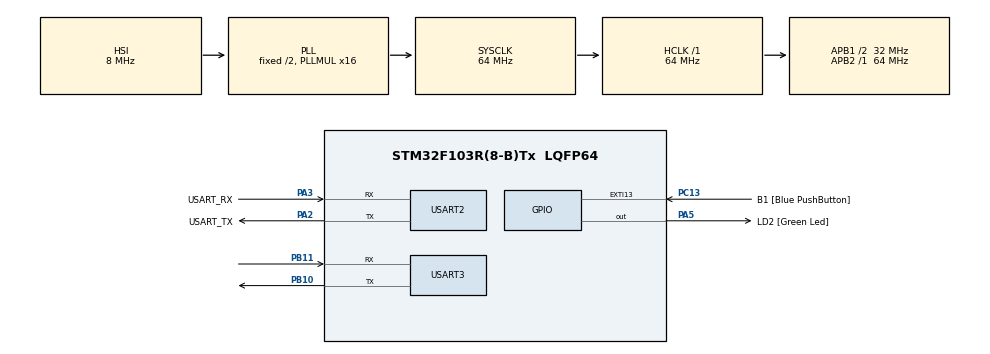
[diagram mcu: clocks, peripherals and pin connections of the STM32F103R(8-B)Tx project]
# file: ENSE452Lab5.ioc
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FREERTOS.Tasks01=blink01,24,128,StartBlink01,Default,NULL,Dynamic,NULL,NULL;blink02,16,128,StartBlink02,Default,NULL,Dynamic,NULL,NULL;StatusTask,8,128,StartStatusTask,Default,NULL,Dynamic,NULL,NULL
Mcu.Family=STM32F1
Mcu.Name=STM32F103R(8-B)Tx
Mcu.Package=LQFP64
NVIC.EXTI15_10_IRQn=true\:5\:0\:false\:false\:true\:true\:true\:true\:true
NVIC.PriorityGroup=NVIC_PRIORITYGROUP_4
NVIC.TIM4_IRQn=true\:15\:0\:false\:false\:true\:false\:false\:true\:true
NVIC.TimeBase=TIM4_IRQn
NVIC.TimeBaseIP=TIM4
NVIC.USART3_IRQn=true\:5\:0\:false\:false\:true\:true\:true\:true\:true
PA13.GPIO_Label=TMS
PA13.Mode=Serial_Wire
PA13.Signal=SYS_JTMS-SWDIO
PA14.GPIO_Label=TCK
PA14.Mode=Serial_Wire
PA14.Signal=SYS_JTCK-SWCLK
PA2.GPIO_Label=USART_TX
PA2.GPIO_Mode=GPIO_MODE_AF_PP
PA2.GPIO_PuPd=GPIO_NOPULL
PA2.GPIO_Speed=GPIO_SPEED_FREQ_LOW
PA2.Mode=Asynchronous
PA2.Signal=USART2_TX
PA3.GPIO_Label=USART_RX
PA3.GPIO_Mode=GPIO_MODE_AF_PP
PA3.GPIO_PuPd=GPIO_NOPULL
PA3.GPIO_Speed=GPIO_SPEED_FREQ_LOW
PA3.Mode=Asynchronous
PA3.Signal=USART2_RX
PA5.GPIO_Label=LD2 [Green Led]
PA5.GPIO_ModeDefaultOutputPP=GPIO_MODE_OUTPUT_PP
PA5.GPIO_PuPd=GPIO_NOPULL
PA5.GPIO_Speed=GPIO_SPEED_FREQ_LOW
PA5.Signal=GPIO_Output
PB10.Mode=Asynchronous
PB10.Signal=USART3_TX
PB11.Mode=Asynchronous
PB11.Signal=USART3_RX
PB3.GPIO_Label=SWO
PB3.Signal=SYS_JTDO-TRACESWO
PC13-TAMPER-RTC.GPIO_Label=B1 [Blue PushButton]
PC13-TAMPER-RTC.GPIO_PuPd=GPIO_NOPULL
PC13-TAMPER-RTC.Signal=GPXTI13
PC14-OSC32_IN.Mode=LSE-External-Oscillator
PC14-OSC32_IN.Signal=RCC_OSC32_IN
PC15-OSC32_OUT.Mode=LSE-External-Oscillator
PC15-OSC32_OUT.Signal=RCC_OSC32_OUT
PD0-OSC_IN.Mode=HSE-External-Clock-Source
PD0-OSC_IN.Signal=RCC_OSC_IN
PD1-OSC_OUT.Mode=HSE-External-Clock-Source
PD1-OSC_OUT.Signal=RCC_OSC_OUT
ProjectManager.HeapSize=0x200
ProjectManager.StackSize=0x400
ProjectManager.TargetToolchain=STM32CubeIDE
RCC.AHBFreq_Value=64000000
RCC.APB1CLKDivider=RCC_HCLK_DIV2
RCC.APB1Freq_Value=32000000
RCC.APB1TimFreq_Value=64000000
RCC.APB2Freq_Value=64000000
RCC.APB2TimFreq_Value=64000000
RCC.HCLKFreq_Value=64000000
RCC.PLLMUL=RCC_PLL_MUL16
RCC.RTCClockSelection=RCC_RTCCLKSOURCE_LSE
RCC.SYSCLKFreq_VALUE=64000000
RCC.SYSCLKSource=RCC_SYSCLKSOURCE_PLLCLK
RCC.USBFreq_Value=64000000
USART2.VirtualMode=VM_ASYNC
USART3.VirtualMode=VM_ASYNC
VP_FREERTOS_VS_CMSIS_V2.Mode=CMSIS_V2
VP_SYS_VS_tim4.Mode=TIM4
board=NUCLEO-F103RB

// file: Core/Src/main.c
/* USER CODE BEGIN Header */
/**
  ******************************************************************************
  * @file           : main.c
  * @brief          : Main program body
  ******************************************************************************
  * @attention
  *
  * Copyright (c) 2022 STMicroelectronics.
  * All rights reserved.
  *
  * This software is licensed under terms that can be found in the LICENSE file
  * in the root directory of this software component.
  * If no LICENSE file comes with this software, it is provided AS-IS.
  *
  ******************************************************************************
  */
/* USER CODE END Header */
#include "main.h"
#include "cmsis_os.h"

/* USER CODE BEGIN Includes */
#include <stdbool.h>
#include <stdio.h>
#include "string.h"
/* USER CODE END Includes */

 UART_HandleTypeDef huart2;
UART_HandleTypeDef huart3;

/* Definitions for blink01 */
osThreadId_t blink01Handle;
const osThreadAttr_t blink01_attributes = {
  .name = "blink01",
  .stack_size = 128 * 4,
  .priority = (osPriority_t) osPriorityNormal,
};
/* Definitions for blink02 */
osThreadId_t blink02Handle;
const osThreadAttr_t blink02_attributes = {
  .name = "blink02",
  .stack_size = 128 * 4,
  .priority = (osPriority_t) osPriorityNormal,
};
/* Definitions for StatusTask */
osThreadId_t StatusTaskHandle;
const osThreadAttr_t StatusTask_attributes = {
  .name = "StatusTask",
  .stack_size = 128 * 4,
  .priority = (osPriority_t) osPriorityAboveNormal,
};
/* USER CODE BEGIN PV */

uint8_t cliBufferTX[56];
uint8_t cliBufferRX[10];
uint8_t inputTXBuffer[50];
int period = 500;
int periodSet = 0;
uint8_t periodString[10];

/* USER CODE END PV */

void SystemClock_Config(void);
static void MX_GPIO_Init(void);
static void MX_USART2_UART_Init(void);
static void MX_USART3_UART_Init(void);
void StartBlink01(void *argument);
void StartBlink02(void *argument);
void StartStatusTask(void *argument);

int main(void)
{

  /* MCU Configuration--------------------------------------------------------*/

  /* Reset of all peripherals, Initializes the Flash interface and the Systick. */
  HAL_Init();

  /* Configure the system clock */
  SystemClock_Config();

  /* Initialize all configured peripherals */
  MX_GPIO_Init();
  MX_USART2_UART_Init();
  MX_USART3_UART_Init();
  /* USER CODE BEGIN 2 */

//clearing screen
  strcpy((char *)cliBufferTX, "\x1b[2J");
  HAL_UART_Transmit(&huart2, cliBufferTX, strlen((char *)cliBufferTX), 1000);

//going to top
  strcpy((char *)cliBufferTX, "\x1b[0;0H");
  HAL_UART_Transmit(&huart2, cliBufferTX, strlen((char *)cliBufferTX), 1000);

  strcpy((char *)cliBufferTX, "Welcome to the CLI!\r\n");
  HAL_UART_Transmit(&huart2, cliBufferTX, strlen((char *)cliBufferTX), 1000);

  HAL_Delay(2000);

  //Formats the screen to show counter and create a scroll window
//clears screen
  strcpy((char *)cliBufferTX, "\x1b[2J");
  HAL_UART_Transmit(&huart2, cliBufferTX, strlen((char *)cliBufferTX), 1000);

//go to top
  strcpy((char *)cliBufferTX, "\x1b[0;0H");
  HAL_UART_Transmit(&huart2, cliBufferTX, strlen((char *)cliBufferTX), 1000);

  strcpy((char *)cliBufferTX, "Period: ");
  HAL_UART_Transmit(&huart2, cliBufferTX, strlen((char *)cliBufferTX), 1000);

  strcpy((char *)cliBufferTX, "500");
  HAL_UART_Transmit(&huart2, cliBufferTX, strlen((char *)cliBufferTX), 1000);

//go down
  strcpy((char *)cliBufferTX, "\x1b[9;0H");
  HAL_UART_Transmit(&huart2, cliBufferTX, strlen((char *)cliBufferTX), 1000);

  strcpy((char *)cliBufferTX, "To change the period of the LED, enter 'period x', where x is the new period");
  HAL_UART_Transmit(&huart2, cliBufferTX, strlen((char *)cliBufferTX), 1000);

//make a scroll  window
  strcpy((char *)cliBufferTX, "\x1b[10;r");
  HAL_UART_Transmit(&huart2, cliBufferTX, strlen((char *)cliBufferTX), 1000);

//moving to scroll window
  strcpy((char *)cliBufferTX, "\x1b[10;0H");
  HAL_UART_Transmit(&huart2, cliBufferTX, strlen((char *)cliBufferTX), 1000);

  strcpy((char *)cliBufferTX, "=> ");
  HAL_UART_Transmit(&huart2, cliBufferTX, strlen((char *)cliBufferTX), 1000);

//saving spot
  strcpy((char *)cliBufferTX, "\x1b[s");
  HAL_UART_Transmit(&huart2, cliBufferTX, strlen((char *)cliBufferTX), 1000);

  /* USER CODE END 2 */

  /* Init scheduler */
  osKernelInitialize();

  /* Create the thread(s) */
  /* creation of blink01 */
  blink01Handle = osThreadNew(StartBlink01, NULL, &blink01_attributes);

  /* creation of blink02 */
  blink02Handle = osThreadNew(StartBlink02, NULL, &blink02_attributes);

  /* creation of StatusTask */
  StatusTaskHandle = osThreadNew(StartStatusTask, NULL, &StatusTask_attributes);

  /* Start scheduler */
  osKernelStart();

  /* We should never get here as control is now taken by the scheduler */
  /* Infinite loop */
  while (1)
  {
	  	  	  	  	  	  	  	  	  //DO NOT PUT CODE IN HERE
	  	  	  	  	  	  	  	  	  //osKernelStart(); will never exit
  }
}

void SystemClock_Config(void)
{
  RCC_OscInitTypeDef RCC_OscInitStruct = {0};
  RCC_ClkInitTypeDef RCC_ClkInitStruct = {0};

  /** Initializes the RCC Oscillators according to the specified parameters
  * in the RCC_OscInitTypeDef structure.
  */
  RCC_OscInitStruct.OscillatorType = RCC_OSCILLATORTYPE_HSI;
  RCC_OscInitStruct.HSIState = RCC_HSI_ON;
  RCC_OscInitStruct.HSICalibrationValue = RCC_HSICALIBRATION_DEFAULT;
  RCC_OscInitStruct.PLL.PLLState = RCC_PLL_ON;
  RCC_OscInitStruct.PLL.PLLSource = RCC_PLLSOURCE_HSI_DIV2;
  RCC_OscInitStruct.PLL.PLLMUL = RCC_PLL_MUL16;
  if (HAL_RCC_OscConfig(&RCC_OscInitStruct) != HAL_OK)
  {
    Error_Handler();
  }

  /** Initializes the CPU, AHB and APB buses clocks
  */
  RCC_ClkInitStruct.ClockType = RCC_CLOCKTYPE_HCLK|RCC_CLOCKTYPE_SYSCLK
                              |RCC_CLOCKTYPE_PCLK1|RCC_CLOCKTYPE_PCLK2;
  RCC_ClkInitStruct.SYSCLKSource = RCC_SYSCLKSOURCE_PLLCLK;
  RCC_ClkInitStruct.AHBCLKDivider = RCC_SYSCLK_DIV1;
  RCC_ClkInitStruct.APB1CLKDivider = RCC_HCLK_DIV2;
  RCC_ClkInitStruct.APB2CLKDivider = RCC_HCLK_DIV1;

  if (HAL_RCC_ClockConfig(&RCC_ClkInitStruct, FLASH_LATENCY_2) != HAL_OK)
  {
    Error_Handler();
  }
}

static void MX_USART2_UART_Init(void)
{

  huart2.Instance = USART2;
  huart2.Init.BaudRate = 115200;
  huart2.Init.WordLength = UART_WORDLENGTH_8B;
  huart2.Init.StopBits = UART_STOPBITS_1;
  huart2.Init.Parity = UART_PARITY_NONE;
  huart2.Init.Mode = UART_MODE_TX_RX;
  huart2.Init.HwFlowCtl = UART_HWCONTROL_NONE;
  huart2.Init.OverSampling = UART_OVERSAMPLING_16;
  if (HAL_UART_Init(&huart2) != HAL_OK)
  {
    Error_Handler();
  }

}

static void MX_USART3_UART_Init(void)
{

  huart3.Instance = USART3;
  huart3.Init.BaudRate = 115200;
  huart3.Init.WordLength = UART_WORDLENGTH_8B;
  huart3.Init.StopBits = UART_STOPBITS_1;
  huart3.Init.Parity = UART_PARITY_NONE;
  huart3.Init.Mode = UART_MODE_TX_RX;
  huart3.Init.HwFlowCtl = UART_HWCONTROL_NONE;
  huart3.Init.OverSampling = UART_OVERSAMPLING_16;
  if (HAL_UART_Init(&huart3) != HAL_OK)
  {
    Error_Handler();
  }

}

static void MX_GPIO_Init(void)
{
  GPIO_InitTypeDef GPIO_InitStruct = {0};

  /* GPIO Ports Clock Enable */
  __HAL_RCC_GPIOC_CLK_ENABLE();
  __HAL_RCC_GPIOD_CLK_ENABLE();
  __HAL_RCC_GPIOA_CLK_ENABLE();
  __HAL_RCC_GPIOB_CLK_ENABLE();

  /*Configure GPIO pin Output Level */
  HAL_GPIO_WritePin(LD2_GPIO_Port, LD2_Pin, GPIO_PIN_RESET);

  /*Configure GPIO pin : B1_Pin */
  GPIO_InitStruct.Pin = B1_Pin;
  GPIO_InitStruct.Mode = GPIO_MODE_IT_RISING;
  GPIO_InitStruct.Pull = GPIO_NOPULL;
  HAL_GPIO_Init(B1_GPIO_Port, &GPIO_InitStruct);

  /*Configure GPIO pin : LD2_Pin */
  GPIO_InitStruct.Pin = LD2_Pin;
  GPIO_InitStruct.Mode = GPIO_MODE_OUTPUT_PP;
  GPIO_InitStruct.Pull = GPIO_NOPULL;
  GPIO_InitStruct.Speed = GPIO_SPEED_FREQ_LOW;
  HAL_GPIO_Init(LD2_GPIO_Port, &GPIO_InitStruct);

  /* EXTI interrupt init*/
  HAL_NVIC_SetPriority(EXTI15_10_IRQn, 5, 0);
  HAL_NVIC_EnableIRQ(EXTI15_10_IRQn);

}

void StartBlink01(void *argument)
{
  /* USER CODE BEGIN 5 */
  /* Infinite loop */
  for(;;)
  {
	HAL_GPIO_TogglePin(GPIOA, GPIO_PIN_5);
    osDelay(period);
  }
  osThreadTerminate(NULL);
  /* USER CODE END 5 */
}

void StartBlink02(void *argument)           //CLI TASK I just didn't change the name from the demo
{
  /* USER CODE BEGIN StartBlink02 */
	int x;
	uint8_t input[20];
  /* Infinite loop */
  for(;;)
  {
	  x = 0;

	  	  	  while(cliBufferTX[0] != '\r')
	  	  	  {
	   			  if(HAL_UART_Receive(&huart2, cliBufferRX, 1, 300) == HAL_OK)
	  			  {
	   				  if(cliBufferRX[0] == '\b')
	 	  				  {
	 	  					  cliBufferTX[0] = cliBufferRX[0];
	 	  					  cliBufferTX[1] = ' ';
	 	  					  cliBufferTX[2] = '\b';
	 	  					  HAL_UART_Transmit(&huart2, cliBufferTX, 3, 1000);
	 	  					  x--;
	 	  				  }
	 	  				  else
	 	  				  {
	 	  					  cliBufferTX[0] = cliBufferRX[0];
	 	  					  input[x] = cliBufferRX[0];
	 	  					  HAL_UART_Transmit(&huart2, cliBufferTX, 1, 1000);
	 	  					  x++;
	 	  				  }
	  			  	  }
	  	  	   }

	  	  	  	  char *command;
	  	  	 	  char *token;

	  	  	 	  strcpy((char *)cliBufferTX, "\r\n");//making space
	  	  	 	  HAL_UART_Transmit(&huart2, cliBufferTX, strlen((char *)cliBufferTX), 1000);

	  	  	 	  while(x < 20 && input[x] != '\0')//Nulling out the rest of the string
	  	  	 		{
	  	  	 			input[x] = '\0';
	  	  	 			x++;
	  	  	 		}

 				  token = strtok((char *)input, " ");//getting command
	  			  command = token;
	  	  		  token = strtok(NULL, " ");//getting period
	  			  if(strcmp(command, "period") == 0 && atoi(token) > 0)//checking command is correct
	  			  {
	  	  				  period = atoi(token);//assigning the period
	  	  				  periodSet = 1;//telling the CLI to update the period
	 			  }
				  else if(input[0] != '\r')//error checking
	  			  {
	 	  			  strcpy((char *)cliBufferTX, "\nError. Try again.\r\n");
	 	  			  HAL_UART_Transmit(&huart2, cliBufferTX, strlen((char *)cliBufferTX), 1000);
	  	  		  }

	  	  		  for(int i = 0; i < 20; i++)//clearing input
	  	  		  {
	  	  			input[i] = '\0';
	  	  		  }

	  	  		  strcpy((char *)cliBufferTX, "=> ");
 	  			  HAL_UART_Transmit(&huart2, cliBufferTX, strlen((char *)cliBufferTX), 1000);

 	  			  strcpy((char *)cliBufferTX, "\x1b[s");//save spot
 	  			  HAL_UART_Transmit(&huart2, cliBufferTX, strlen((char *)cliBufferTX), 1000);

    osDelay(1);
  }

  //In case the task loop accidentally exits
  osThreadTerminate(NULL);
  /* USER CODE END StartBlink02 */
}

void StartStatusTask(void *argument)
{
  /* USER CODE BEGIN StartStatusTask */
  /* Infinite loop */
  for(;;)
  {
	  if(periodSet == 1)
	  {
	  		  sprintf((char *)periodString, "%d", period);

	  		  //go to counter
	  		  strcpy((char *)cliBufferTX, "\x1b[0;9H");
	  		  HAL_UART_Transmit(&huart2, cliBufferTX, strlen((char *)cliBufferTX), 1000);

	  		  //blank out
	  		  strcpy((char *)cliBufferTX, "                       ");
	  		  HAL_UART_Transmit(&huart2, cliBufferTX, strlen((char *)cliBufferTX), 1000);

	  		  //go to counter
	  		  strcpy((char *)cliBufferTX, "\x1b[0;9H");
	  		  HAL_UART_Transmit(&huart2, cliBufferTX, strlen((char *)cliBufferTX), 1000);

	  		  //printing the period to CLI
	  		  strcpy((char *)cliBufferTX, (const char *)periodString);
	  		  HAL_UART_Transmit(&huart2, cliBufferTX, strlen((char *)cliBufferTX), 1000);

		      strcpy((char *)cliBufferTX, "\x1b[u");//return to curs
	  		  HAL_UART_Transmit(&huart2, cliBufferTX, strlen((char *)cliBufferTX), 1000);

	  		  periodSet = 0;//reset
	  }
	  osDelay(1);
  }
  osThreadTerminate(NULL);
  /* USER CODE END StartStatusTask */
}

void HAL_TIM_PeriodElapsedCallback(TIM_HandleTypeDef *htim)
{
  if (htim->Instance == TIM4) {
    HAL_IncTick();
  }
  /* USER CODE BEGIN Callback 1 */

  //In case the task loop accidentally exits
  osThreadTerminate(NULL);
  /* USER CODE END Callback 1 */
}

void Error_Handler(void)
{
  __disable_irq();
  while (1)
  {
  }
}
